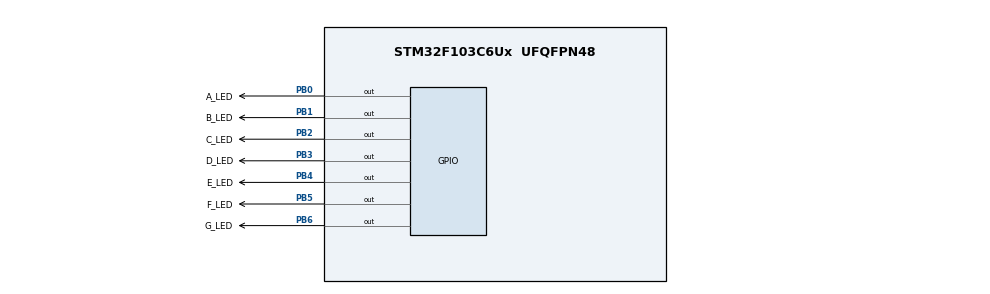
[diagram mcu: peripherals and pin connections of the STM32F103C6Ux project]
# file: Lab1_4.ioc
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Mcu.Family=STM32F1
Mcu.Name=STM32F103C6Ux
Mcu.Package=UFQFPN48
NVIC.PriorityGroup=NVIC_PRIORITYGROUP_4
PB0.GPIO_Label=A_LED
PB0.Signal=GPIO_Output
PB1.GPIO_Label=B_LED
PB1.Signal=GPIO_Output
PB2.GPIO_Label=C_LED
PB2.Signal=GPIO_Output
PB3.GPIO_Label=D_LED
PB3.Signal=GPIO_Output
PB4.GPIO_Label=E_LED
PB4.Signal=GPIO_Output
PB5.GPIO_Label=F_LED
PB5.Signal=GPIO_Output
PB6.GPIO_Label=G_LED
PB6.Signal=GPIO_Output
ProjectManager.HeapSize=0x200
ProjectManager.StackSize=0x400
ProjectManager.TargetToolchain=STM32CubeIDE
RCC.APB1Freq_Value=8000000
RCC.APB2Freq_Value=8000000
VP_SYS_VS_ND.Mode=No_Debug
board=custom

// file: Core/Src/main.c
/* USER CODE BEGIN Header */
/**
  ******************************************************************************
  * @file           : main.c
  * @brief          : Main program body
  ******************************************************************************
  * @attention
  *
  * <h2><center>&copy; Copyright (c) 2025 STMicroelectronics.
  * All rights reserved.</center></h2>
  *
  * This software component is licensed by ST under BSD 3-Clause license,
  * the "License"; You may not use this file except in compliance with the
  * License. You may obtain a copy of the License at:
  *                        opensource.org/licenses/BSD-3-Clause
  *
  ******************************************************************************
  */
/* USER CODE END Header */
#include "main.h"

/* USER CODE BEGIN PD */
#define ON 0
#define OFF 1
/* USER CODE END PD */

void SystemClock_Config(void);
static void MX_GPIO_Init(void);
/* USER CODE BEGIN PFP */
void a_led(uint8_t n);
void b_led(uint8_t n);
void c_led(uint8_t n);
void d_led(uint8_t n);
void e_led(uint8_t n);
void f_led(uint8_t n);
void g_led(uint8_t n);
void display7SEG(int num);

/* USER CODE END PFP */

int main(void)
{

  /* MCU Configuration--------------------------------------------------------*/

  /* Reset of all peripherals, Initializes the Flash interface and the Systick. */
  HAL_Init();

  /* Configure the system clock */
  SystemClock_Config();

  /* Initialize all configured peripherals */
  MX_GPIO_Init();
  /* USER CODE BEGIN 2 */
		uint16_t count = 100;
		int num_counter = 0;
  /* USER CODE END 2 */

  /* Infinite loop */
  /* USER CODE BEGIN WHILE */
  while (1)
  {
		if(count == 0){
			count = 100;
			++num_counter;
		}

		if(num_counter == 10) num_counter = 0;

		display7SEG(num_counter);

		--count;
		HAL_Delay(10);
    /* USER CODE END WHILE */

  }
}

void SystemClock_Config(void)
{
  RCC_OscInitTypeDef RCC_OscInitStruct = {0};
  RCC_ClkInitTypeDef RCC_ClkInitStruct = {0};

  /** Initializes the RCC Oscillators according to the specified parameters
  * in the RCC_OscInitTypeDef structure.
  */
  RCC_OscInitStruct.OscillatorType = RCC_OSCILLATORTYPE_HSI;
  RCC_OscInitStruct.HSIState = RCC_HSI_ON;
  RCC_OscInitStruct.HSICalibrationValue = RCC_HSICALIBRATION_DEFAULT;
  RCC_OscInitStruct.PLL.PLLState = RCC_PLL_NONE;
  if (HAL_RCC_OscConfig(&RCC_OscInitStruct) != HAL_OK)
  {
    Error_Handler();
  }
  /** Initializes the CPU, AHB and APB buses clocks
  */
  RCC_ClkInitStruct.ClockType = RCC_CLOCKTYPE_HCLK|RCC_CLOCKTYPE_SYSCLK
                              |RCC_CLOCKTYPE_PCLK1|RCC_CLOCKTYPE_PCLK2;
  RCC_ClkInitStruct.SYSCLKSource = RCC_SYSCLKSOURCE_HSI;
  RCC_ClkInitStruct.AHBCLKDivider = RCC_SYSCLK_DIV1;
  RCC_ClkInitStruct.APB1CLKDivider = RCC_HCLK_DIV1;
  RCC_ClkInitStruct.APB2CLKDivider = RCC_HCLK_DIV1;

  if (HAL_RCC_ClockConfig(&RCC_ClkInitStruct, FLASH_LATENCY_0) != HAL_OK)
  {
    Error_Handler();
  }
}

static void MX_GPIO_Init(void)
{
  GPIO_InitTypeDef GPIO_InitStruct = {0};

  /* GPIO Ports Clock Enable */
  __HAL_RCC_GPIOB_CLK_ENABLE();

  /*Configure GPIO pin Output Level */
  HAL_GPIO_WritePin(GPIOB, A_LED_Pin|B_LED_Pin|C_LED_Pin|D_LED_Pin
                          |E_LED_Pin|F_LED_Pin|G_LED_Pin, GPIO_PIN_RESET);

  /*Configure GPIO pins : A_LED_Pin B_LED_Pin C_LED_Pin D_LED_Pin
                           E_LED_Pin F_LED_Pin G_LED_Pin */
  GPIO_InitStruct.Pin = A_LED_Pin|B_LED_Pin|C_LED_Pin|D_LED_Pin
                          |E_LED_Pin|F_LED_Pin|G_LED_Pin;
  GPIO_InitStruct.Mode = GPIO_MODE_OUTPUT_PP;
  GPIO_InitStruct.Pull = GPIO_NOPULL;
  GPIO_InitStruct.Speed = GPIO_SPEED_FREQ_LOW;
  HAL_GPIO_Init(GPIOB, &GPIO_InitStruct);

}

/* USER CODE BEGIN 4 */
void a_led(uint8_t n){
	HAL_GPIO_WritePin(A_LED_GPIO_Port, A_LED_Pin, n);
}
void b_led(uint8_t n){
	HAL_GPIO_WritePin(B_LED_GPIO_Port, B_LED_Pin, n);
}
void c_led(uint8_t n){
	HAL_GPIO_WritePin(C_LED_GPIO_Port, C_LED_Pin, n);
}
void d_led(uint8_t n){
	HAL_GPIO_WritePin(D_LED_GPIO_Port, D_LED_Pin, n);
}
void e_led(uint8_t n){
	HAL_GPIO_WritePin(E_LED_GPIO_Port, E_LED_Pin, n);
}
void f_led(uint8_t n){
	HAL_GPIO_WritePin(F_LED_GPIO_Port, F_LED_Pin, n);
}
void g_led(uint8_t n){
	HAL_GPIO_WritePin(G_LED_GPIO_Port, G_LED_Pin, n);
}
void display7SEG(int num){

	switch(num % 10){
	case 0:
		a_led(ON);
		b_led(ON);
		c_led(ON);
		d_led(ON);
		e_led(ON);
		f_led(ON);
		g_led(OFF);
		break;
	case 1:
		a_led(OFF);
		b_led(ON);
		c_led(ON);
		d_led(OFF);
		e_led(OFF);
		f_led(OFF);
		g_led(OFF);
		break;
	case 2:
		a_led(ON);
		b_led(ON);
		c_led(OFF);
		d_led(ON);
		e_led(ON);
		f_led(OFF);
		g_led(ON);
		break;
	case 3:
		a_led(ON);
		b_led(ON);
		c_led(ON);
		d_led(ON);
		e_led(OFF);
		f_led(OFF);
		g_led(ON);
		break;
	case 4:
		a_led(OFF);
		b_led(ON);
		c_led(ON);
		d_led(OFF);
		e_led(OFF);
		f_led(ON);
		g_led(ON);
		break;
	case 5:
		a_led(ON);
		b_led(OFF);
		c_led(ON);
		d_led(ON);
		e_led(OFF);
		f_led(ON);
		g_led(ON);
		break;
	case 6:
		a_led(ON);
		b_led(OFF);
		c_led(ON);
		d_led(ON);
		e_led(ON);
		f_led(ON);
		g_led(ON);
		break;
	case 7:
		a_led(ON);
		b_led(ON);
		c_led(ON);
		d_led(OFF);
		e_led(OFF);
		f_led(OFF);
		g_led(OFF);
		break;
	case 8:
		a_led(ON);
		b_led(ON);
		c_led(ON);
		d_led(ON);
		e_led(ON);
		f_led(ON);
		g_led(ON);
		break;
	case 9:
		a_led(ON);
		b_led(ON);
		c_led(ON);
		d_led(ON);
		e_led(OFF);
		f_led(ON);
		g_led(ON);
		break;
	default:
		break;

	}
}

/* USER CODE END 4 */

void Error_Handler(void)
{
  __disable_irq();
  while (1)
  {
  }
}

/************************ (C) COPYRIGHT STMicroelectronics *****END OF FILE****/
